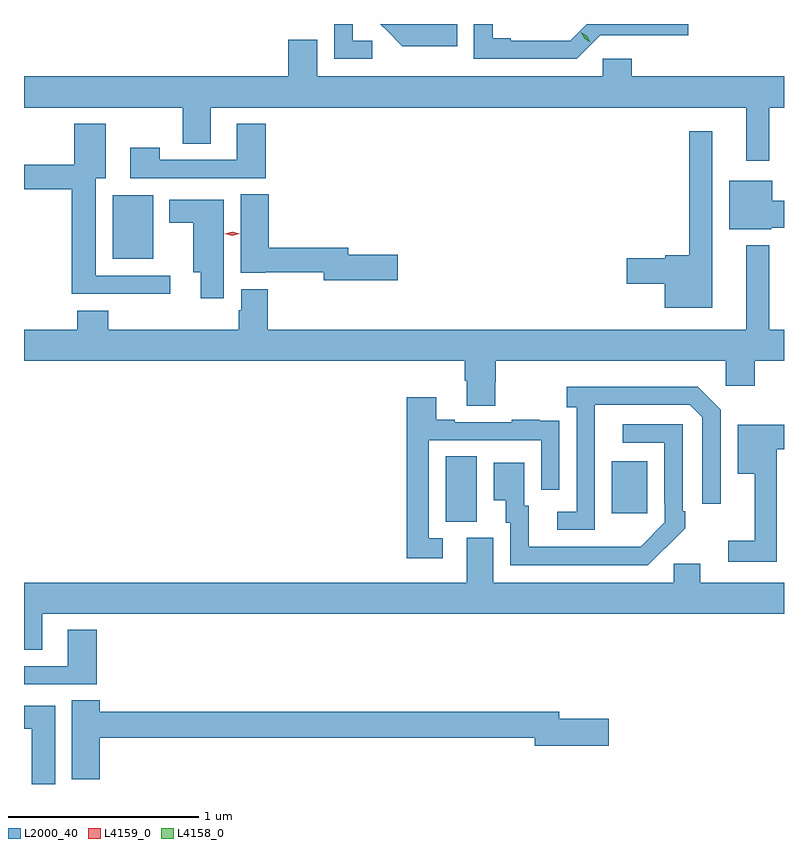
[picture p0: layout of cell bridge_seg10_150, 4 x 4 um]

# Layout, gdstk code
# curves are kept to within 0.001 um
import gdstk
lib = gdstk.Library(unit=1e-6, precision=1e-09)
def R(c, l, rs):  # rectangles x0, y0, x1, y1
    for r in rs: c.add(gdstk.rectangle(r[:2], r[2:], *l))
def P(c, l, *ps):  # polygons
    for p in ps: c.add(gdstk.Polygon(p, *l))
L2000_40 = (2000, 40)
L4158_0 = (4158, 0)
L4159_0 = (4159, 0)

bridge_seg10_150 = lib.new_cell('bridge_seg10_150')
R(bridge_seg10_150, L2000_40, [(305.18,1259.509,305.344,1259.852), (306.053,1259.553,306.241,1259.827), (303.428,1260.893,303.64,1261.228)])
P(bridge_seg10_150, L2000_40, [(305.239,1262.128),(304.836,1262.128),(304.871,1262.093),(304.951,1262.012),(305.239,1262.012)],
  [(304.792,1262.04),(304.689,1262.04),(304.689,1262.128),(304.593,1262.128),(304.593,1261.944),(304.792,1261.944)],
  [(305.994,1262.07),(306.457,1262.069),(306.457,1262.128),(305.923,1262.128),(305.835,1262.04),(305.521,1262.04),(305.521,1262.053),(305.427,1262.053),(305.427,1262.128),(305.328,1262.128),(305.328,1261.944),(305.868,1261.944)],
  [(306.883,1261.688),(306.96,1261.688),(306.96,1261.852),(306.158,1261.852),(306.158,1261.945),(306.006,1261.945),(306.006,1261.852),(304.504,1261.852),(304.504,1262.044),(304.352,1262.044),(304.352,1261.852),(302.96,1261.852),(302.96,1261.688),(303.796,1261.688),(303.796,1261.498),(303.943,1261.498),(303.943,1261.688),(306.761,1261.688),(306.761,1261.407),(306.883,1261.407)],
  [(304.232,1261.603),(304.079,1261.603),(304.079,1261.413),(303.675,1261.413),(303.675,1261.477),(303.519,1261.477),(303.519,1261.317),(304.232,1261.317)],
  [(303.73,1260.804),(303.337,1260.804),(303.337,1261.316),(303.391,1261.316),(303.391,1261.603),(303.224,1261.603),(303.224,1261.387),(302.96,1261.387),(302.96,1261.258),(303.212,1261.258),(303.212,1260.707),(303.73,1260.707)],
  [(306.583,1261.564),(306.462,1261.564),(306.462,1260.911),(306.336,1260.911),(306.336,1260.896),(306.132,1260.896),(306.132,1260.761),(306.332,1260.761),(306.332,1260.635),(306.583,1260.635)],
  [(306.894,1261.055),(306.96,1261.055),(306.96,1261.197),(306.898,1261.197),(306.898,1261.303),(306.671,1261.303),(306.671,1261.049),(306.894,1261.049)],
  [(304.927,1260.914),(304.666,1260.914),(304.666,1260.95),(304.247,1260.95),(304.247,1261.232),(304.1,1261.232),(304.1,1260.818),(304.23,1260.818),(304.23,1260.822),(304.538,1260.822),(304.538,1260.779),(304.927,1260.779)],
  [(304.012,1261.204),(303.725,1261.204),(303.725,1261.082),(303.851,1261.082),(303.851,1260.821),(303.89,1260.821),(303.89,1260.684),(304.012,1260.684)],
  [(305.439,1260.243),(305.444,1260.243),(305.444,1260.356),(306.654,1260.356),(306.654,1260.225),(306.806,1260.225),(306.806,1260.356),(306.96,1260.356),(306.96,1260.52),(306.883,1260.52),(306.883,1260.964),(306.761,1260.964),(306.761,1260.52),(304.244,1260.52),(304.244,1260.733),(304.103,1260.733),(304.103,1260.621),(304.091,1260.621),(304.091,1260.52),(303.404,1260.52),(303.404,1260.619),(303.239,1260.619),(303.239,1260.52),(302.96,1260.52),(302.96,1260.356),(305.279,1260.356),(305.279,1260.25),(305.291,1260.25),(305.291,1260.118),(305.439,1260.118)],
  [(305.964,1259.923),(305.965,1260.123),(306.465,1260.123),(306.531,1260.057),(306.531,1259.604),(306.627,1259.604),(306.627,1260.099),(306.506,1260.22),(305.817,1260.22),(305.817,1260.11),(305.868,1260.11),(305.868,1259.562),(305.766,1259.562),(305.766,1259.466),(305.964,1259.466)],
  [(305.164,1259.421),(305.091,1259.421),(305.091,1259.937),(305.682,1259.937),(305.682,1259.676),(305.778,1259.676),(305.778,1259.93),(305.777,1259.93),(305.777,1260.039),(305.675,1260.039),(305.675,1260.046),(305.527,1260.046),(305.527,1260.033),(305.227,1260.033),(305.227,1260.046),(305.131,1260.046),(305.131,1260.163),(304.975,1260.163),(304.975,1259.316),(305.164,1259.316)],
  [(306.335,1259.371),(306.336,1259.37),(306.441,1259.475),(306.441,1259.563),(306.426,1259.563),(306.426,1260.021),(306.111,1260.021),(306.111,1259.925),(306.33,1259.925),(306.33,1259.605),(306.333,1259.605),(306.333,1259.505),(306.205,1259.377),(305.617,1259.376),(305.617,1259.592),(305.593,1259.592),(305.593,1259.818),(305.432,1259.818),(305.432,1259.621),(305.495,1259.621),(305.495,1259.502),(305.52,1259.502),(305.52,1259.28),(306.244,1259.28)],
  [(306.923,1259.89),(306.96,1259.89),(306.96,1260.019),(306.716,1260.019),(306.716,1259.762),(306.806,1259.762),(306.806,1259.407),(306.666,1259.407),(306.666,1259.298),(306.923,1259.298)],
  [(303.055,1259.024),(306.96,1259.024),(306.96,1259.188),(306.52,1259.188),(306.52,1259.286),(306.381,1259.286),(306.381,1259.188),(305.431,1259.188),(305.431,1259.424),(305.291,1259.424),(305.291,1259.188),(302.96,1259.188),(302.96,1258.834),(303.055,1258.834)],
  [(303.344,1258.939),(303.191,1258.939),(303.191,1258.749),(302.96,1258.749),(302.96,1258.653),(303.344,1258.653)],
  [(303.359,1258.372),(305.648,1258.372),(305.648,1258.33),(306.037,1258.33),(306.037,1258.472),(305.776,1258.472),(305.776,1258.508),(303.359,1258.508),(303.359,1258.568),(303.212,1258.568),(303.212,1258.153),(303.359,1258.153)],
  [(303.124,1258.54),(302.96,1258.54),(302.96,1258.418),(303.002,1258.418),(303.002,1258.128),(303.124,1258.128)])
P(bridge_seg10_150, L4158_0, [(305.941,1262.032),(305.91,1262.051),(305.892,1262.083),(305.892,1262.084),(305.893,1262.084),(305.924,1262.064),(305.941,1262.032),(305.941,1262.032)])
P(bridge_seg10_150, L4159_0, [(304.056,1261.014),(304.016,1261.023),(304.016,1261.024),(304.016,1261.024),(304.055,1261.034),(304.095,1261.024),(304.095,1261.024),(304.095,1261.024)])

lib.write_gds('bridge_seg10_150.gds')
